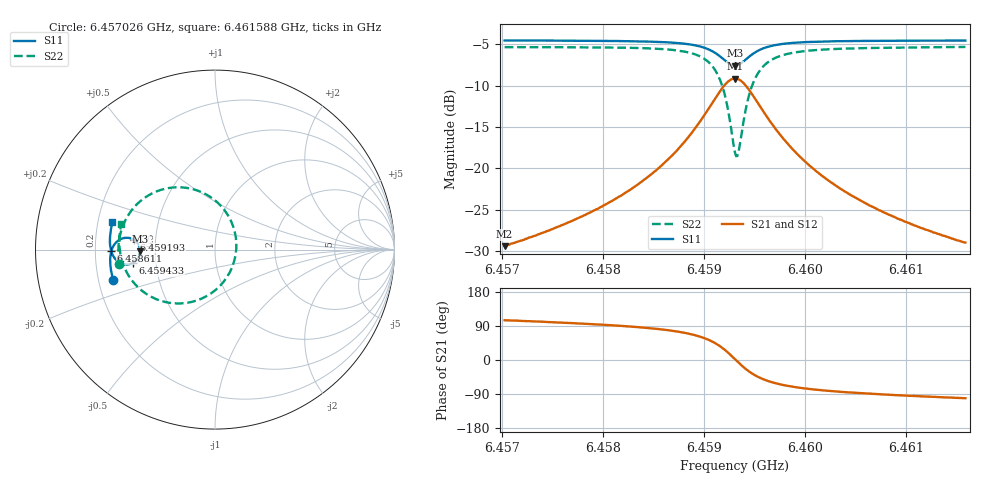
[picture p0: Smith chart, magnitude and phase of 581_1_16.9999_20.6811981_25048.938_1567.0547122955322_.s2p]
#  HZ  S  RI  R  50.00
! Rohde & Schwarz Vector Network Analyzer
! Rohde-Schwarz,ZNB20-2Port,1311601062101988,3.16
! Created: UTC 3/20/2024, 11:18:07 PM
! freq[Hz]  re:S11  im:S11  re:S21  im:S21  re:S12  im:S12  re:S22  im:S22
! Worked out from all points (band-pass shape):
!   401 points, 6.457026 GHz to 6.461588 GHz, reference 50 ohm
!   highest |S21| = -9.15 dB at 6.459307 GHz (marker M1); lowest = -29.4 dB at 6.457026 GHz (marker M2)
!   |S21| within 3 dB of the highest: 6.459079 GHz to 6.459536 GHz (456.3 kHz wide, 0.00706 % of centre)
!   lowest |S11| = -7.6 dB at 6.459307 GHz (marker M3), VSWR 2.43, Z = 20.6 - j0.421 ohm
!   |S11| at or under -10 dB: nowhere
!   |S22| runs from -18.5 to -5.3 dB; largest |S21 - S12| = 0.014
!   S11 on the Smith chart (normalised r, x): 6.457026 GHz: 0.26, -0.14; 6.458611 GHz: 0.27, -0.01; 6.459193 GHz: 0.37, +0.05; 6.459433 GHz: 0.37, -0.07; 6.461588 GHz: 0.26, +0.12
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6.4570261e9  -0.5677 -0.1685  -0.00873 0.0327  -0.00699 0.0328  -0.5337 -0.0804
6.4577902e9  -0.5813 -0.1014  -0.00536 0.0509  -0.00288 0.0503  -0.5383 0.0098
6.4581894e9  -0.5839 -0.0614  0.000239 0.0691  0.00352 0.0678  -0.5305 0.073
6.4585543e9  -0.5798 -0.0178  0.0148 0.0994  0.0189 0.0968  -0.5036 0.1551
6.4586114e9  -0.5779 -0.00985  0.0192 0.1065  0.0234 0.1033  -0.4952 0.1718
6.4588167e9  -0.5647 0.0222  0.0471 0.1391  0.0514 0.134  -0.4429 0.2447
6.4589649e9  -0.5418 0.0483  0.093 0.1696  0.0961 0.1628  -0.3583 0.3092
6.4591018e9  -0.4975 0.0657  0.1808 0.186  0.1818 0.1784  -0.1973 0.3473
6.459193e9  -0.4527 0.0552  0.2714 0.1542  0.2715 0.1482  -0.0293 0.2958
6.4592614e9  -0.4236 0.0228  0.3322 0.0816  0.3344 0.0762  0.0867 0.1646
6.4593071e9  -0.4166 -0.00846  0.3485 0.013  0.3523 0.00601  0.1188 0.0362
6.4593413e9  -0.4207 -0.0324  0.3425 -0.0399  0.3465 -0.0491  0.1069 -0.0643
6.4593869e9  -0.4364 -0.0586  0.3137 -0.1004  0.3158 -0.1123  0.0483 -0.1787
6.4594325e9  -0.4586 -0.0752  0.2711 -0.1415  0.2702 -0.1551  -0.0381 -0.2541
6.4594781e9  -0.4818 -0.0821  0.226 -0.1642  0.2221 -0.1773  -0.1285 -0.2911
6.4595237e9  -0.5023 -0.0822  0.1853 -0.1729  0.1789 -0.1845  -0.2092 -0.3
6.459672e9  -0.5465 -0.0615  0.0966 -0.1586  0.0879 -0.1649  -0.3785 -0.2494
6.4598317e9  -0.5681 -0.0337  0.0514 -0.1301  0.0436 -0.1329  -0.4593 -0.1764
6.4600712e9  -0.5811 0.00189  0.0221 -0.0981  0.0163 -0.0987  -0.5075 -0.0931
6.4604133e9  -0.5855 0.0428  0.00603 -0.0711  0.00197 -0.0706  -0.5289 -0.0135
6.4608353e9  -0.5834 0.0853  -0.0016 -0.0522  -0.00447 -0.0514  -0.533 0.0549
6.461588e9  -0.5713 0.1521  -0.00673 -0.035  -0.00835 -0.0339  -0.5214 0.1445
